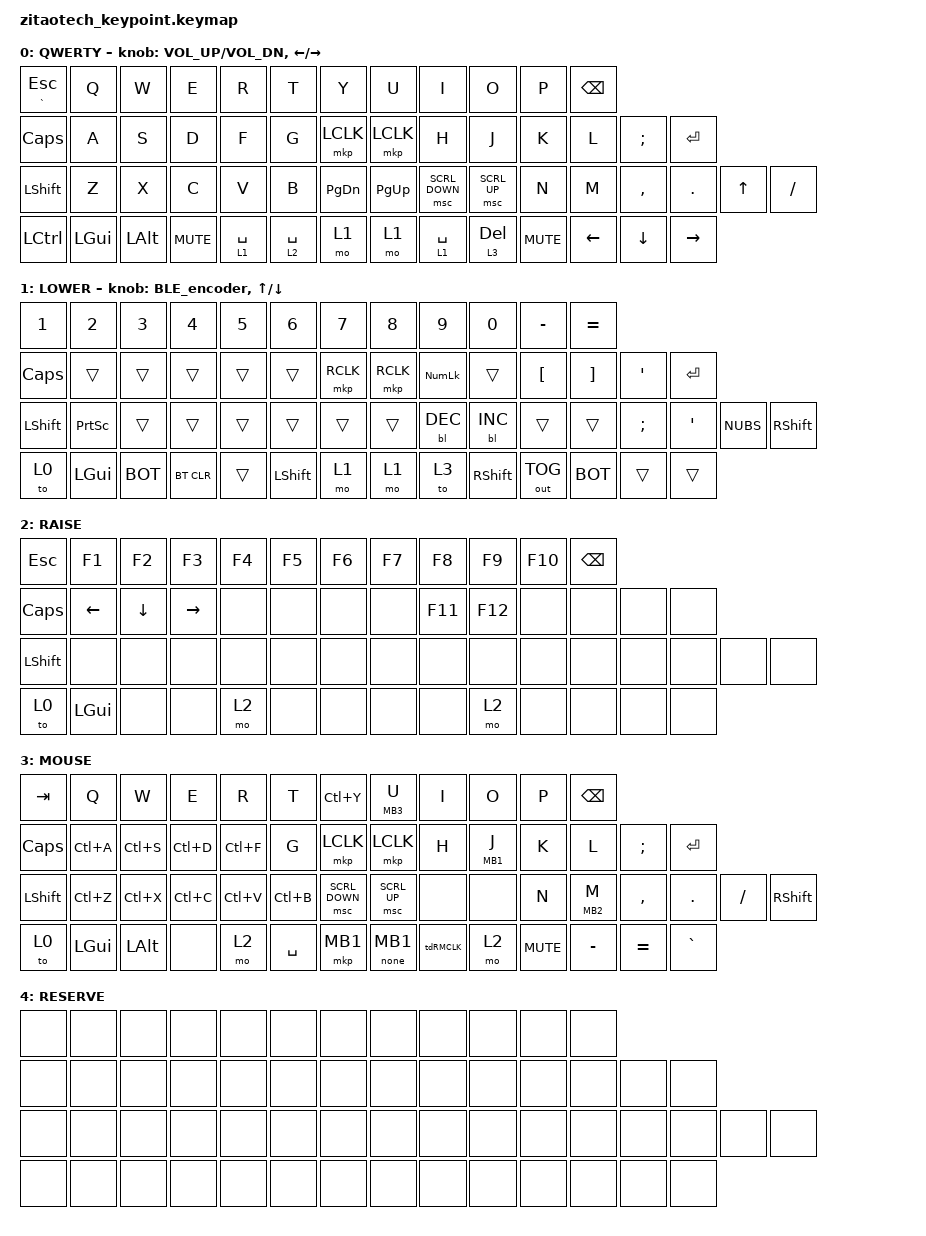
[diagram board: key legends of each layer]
/*
 * Copyright (c) 2025 ZitaoTech
 *
 * SPDX-License-Identifier: MIT
 */

#include <dt-bindings/zmk/mouse.h>
#include <behaviors.dtsi>
#include <dt-bindings/zmk/backlight.h>
#include <dt-bindings/zmk/bt.h>
#include <dt-bindings/zmk/keys.h>
#include <dt-bindings/zmk/outputs.h>
#include <dt-bindings/zmk/pointing.h>

#define LOWER 1
#define RAISE 2
#define MOUSE 3
#define BOT bootloader

/ {
    behaviors {
        td0: tap_dance_0 {
            compatible = "zmk,behavior-tap-dance";
            #binding-cells = <0>;
            tapping-term-ms = <400>;
            bindings = <&mkp LCLK>, <&bt BT_CLR>;
        };
    };

    behaviors {
        tdRMCLK: tap_dance_R_LMouse {
            compatible = "zmk,behavior-tap-dance";
            #binding-cells = <0>;
            tapping-term-ms = <400>;
            bindings = <&mkp RCLK>, <&mkp MCLK>;
        };
    };

    behaviors {
        hm: homerow_mods {
            compatible = "zmk,behavior-hold-tap";
            #binding-cells = <2>;
            tapping-term-ms = <500>;
            bindings = <&kp &kp>;
        };
    };

    behaviors {
        LMouse_sc: behavior_LMouse_Scroll {
            compatible = "zmk,behavior-hold-tap";
            #binding-cells = <2>;
            flavor = "tap-preferred";     /* 单击优先 */
            tapping-term-ms = <200>;       /* 长按阈值 */
            bindings = <&none &mkp>;        /* hold=none, tap=Lmouse */
        };
    };

    behaviors {
        M_kp: behavior_mouse_keypress {
            compatible = "zmk,behavior-hold-tap";
            #binding-cells = <2>;
            flavor = "tap-preferred";     /* 单击优先 */
            tapping-term-ms = <200>;       /* 长按阈值 */
            bindings = <&mkp &kp>;        /* hold=mou key press, tap=key*/
        };
    };

    behaviors {
        BLE_encoder: BLE_encoder {
            compatible = "zmk,behavior-sensor-rotate";
            #sensor-binding-cells = <0>;
            bindings = <&bt BT_NXT>, <&bt BT_PRV>;
        };

        lftsp: Ly1etSp {
            compatible = "zmk,behavior-hold-tap";
            bindings = <&mo>, <&kp>;

            #binding-cells = <2>;
            tapping-term-ms = <300>;
            flavor = "balanced";
        };
    };

    keymap {
        compatible = "zmk,keymap";

        default_layer {
            display-name = "QWERTY";
            bindings = <
&mt GRAVE ESC  &kp Q     &kp W     &kp E       &kp R           &kp T        &kp Y      &kp U      &kp I           &kp O         &kp P       &kp BSPC
&kp CAPS       &kp A     &kp S     &kp D       &kp F           &kp G        &mkp LCLK  &mkp LCLK  &kp H           &kp J         &kp K       &kp L     &kp SEMI   &kp ENTER
&kp LSHFT      &kp Z     &kp X     &kp C       &kp V           &kp B        &kp PG_DN  &kp PG_UP  &msc SCRL_DOWN  &msc SCRL_UP  &kp N       &kp M     &kp COMMA  &kp DOT    &kp UP_ARROW  &kp SLASH
&kp LCTRL      &kp LGUI  &kp LALT  &kp C_MUTE  &lftsp 1 SPACE  &lt 2 SPACE  &mo 1      &mo 1      &lt 1 SPACE     &lt 3 DELETE  &kp C_MUTE  &kp LEFT  &kp DOWN   &kp RIGHT
            >;

            sensor-bindings = <&inc_dec_kp C_VOL_UP C_VOL_DN &inc_dec_kp LEFT RIGHT>;
        };

        lower_layer {
            display-name = "LOWER";
            bindings = <
&kp NUMBER_1  &kp NUMBER_2     &kp NUMBER_3  &kp NUMBER_4  &kp N5  &kp NUMBER_6    &kp N7     &kp N8     &kp N9          &kp N0           &kp MINUS         &kp EQUAL
&kp CAPS      &trans           &trans        &trans        &trans  &trans          &mkp RCLK  &mkp RCLK  &kp KP_NUMLOCK  &trans           &kp LEFT_BRACKET  &kp RIGHT_BRACKET  &kp SQT        &kp ENTER
&kp LSHFT     &kp PRINTSCREEN  &trans        &trans        &trans  &trans          &trans     &trans     &bl BL_DEC      &bl BL_INC       &trans            &trans             &kp SEMICOLON  &kp SQT    &kp NUBS  &kp RSHFT
&to 0         &kp LGUI         &BOT          &bt BT_CLR    &trans  &kp LEFT_SHIFT  &mo 1      &mo 1      &to 3           &kp RIGHT_SHIFT  &out OUT_TOG      &BOT               &trans         &trans
            >;

            sensor-bindings = <&BLE_encoder &inc_dec_kp UP DOWN>;
        };

        raise_layer {
            display-name = "RAISE";
            bindings = <
&kp ESC    &kp F1    &kp F2    &kp F3     &kp F4  &kp F5  &kp F6  &kp F7  &kp F8   &kp F9   &kp F10  &kp BACKSPACE
&kp CAPS   &kp LEFT  &kp DOWN  &kp RIGHT  &none   &none   &none   &none   &kp F11  &kp F12  &none    &none          &none  &none
&kp LSHFT  &none     &none     &none      &none   &none   &none   &none   &none    &none    &none    &none          &none  &none  &none  &none
&to 0      &kp LGUI  &none     &none      &mo 2   &none   &none   &none   &none    &mo 2    &none    &none          &none  &none
            >;
        };

        MOUSE_layer {
            display-name = "MOUSE";
            bindings = <
&kp TAB    &kp Q      &kp W      &kp E      &kp R      &kp T      &kp LC(Y)       &M_kp MB3 U       &kp I     &kp O        &kp P       &kp BSPC
&kp CAPS   &kp LC(A)  &kp LC(S)  &kp LC(D)  &kp LC(F)  &kp G      &mkp LCLK       &mkp LCLK         &kp H     &M_kp MB1 J  &kp K       &kp L        &kp SEMI   &kp ENTER
&kp LSHFT  &kp LC(Z)  &kp LC(X)  &kp LC(C)  &kp LC(V)  &kp LC(B)  &msc SCRL_DOWN  &msc SCRL_UP      &none     &none        &kp N       &M_kp MB2 M  &kp COMMA  &kp DOT    &kp FSLH  &kp RSHFT
&to 0      &kp LGUI   &kp LALT   &none      &mo 2      &kp SPACE  &mkp MB1        &LMouse_sc 0 MB1  &tdRMCLK  &mo 2        &kp C_MUTE  &kp MINUS    &kp EQUAL  &kp GRAVE
            >;
        };

        RES_layer {
            display-name = "RESERVE";
            bindings = <
&none  &none  &none  &none  &none  &none  &none  &none  &none  &none  &none  &none
&none  &none  &none  &none  &none  &none  &none  &none  &none  &none  &none  &none  &none  &none
&none  &none  &none  &none  &none  &none  &none  &none  &none  &none  &none  &none  &none  &none  &none  &none
&none  &none  &none  &none  &none  &none  &none  &none  &none  &none  &none  &none  &none  &none
            >;
        };
    };
};
